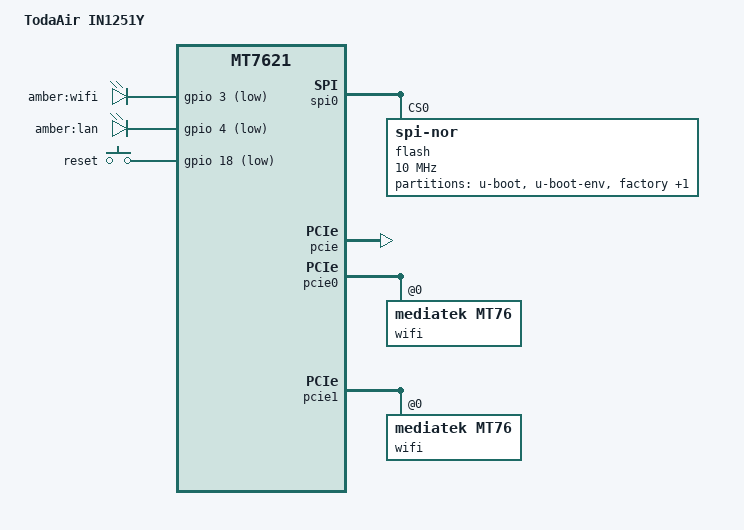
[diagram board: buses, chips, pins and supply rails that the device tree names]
// SPDX-License-Identifier: GPL-2.0-or-later OR MIT

#include "mt7621.dtsi"

#include <dt-bindings/gpio/gpio.h>
#include <dt-bindings/input/input.h>
#include <dt-bindings/leds/common.h>

/ {
	compatible = "todaair,in1251y", "mediatek,mt7621-soc";
	model = "TodaAir IN1251Y";

	aliases {
		label-mac-device = &gmac0;
		led-boot = &led_lan;
		led-failsafe = &led_lan;
		led-running = &led_wifi;
		led-upgrade = &led_lan;
	};

	chosen {
		bootargs = "console=ttyS0,115200n8";
	};

	leds {
		compatible = "gpio-leds";

		led_wifi: wifi {
			label = "amber:wifi";
			gpios = <&gpio 3 GPIO_ACTIVE_LOW>;
		};

		led_lan: lan {
			label = "amber:lan";
			gpios = <&gpio 4 GPIO_ACTIVE_LOW>;
		};
	};

	keys {
		compatible = "gpio-keys";

		reset {
			label = "reset";
			gpios = <&gpio 18 GPIO_ACTIVE_LOW>;
			linux,code = <KEY_RESTART>;
		};
	};
};

&spi0 {
	status = "okay";

	flash@0 {
		compatible = "jedec,spi-nor";
		reg = <0>;
		spi-max-frequency = <10000000>;

		partitions: partitions {
			compatible = "fixed-partitions";
			#address-cells = <1>;
			#size-cells = <1>;

			partition@0 {
				label = "u-boot";
				reg = <0x0 0x30000>;
				read-only;
			};

			partition@30000 {
				label = "u-boot-env";
				reg = <0x30000 0x10000>;
				read-only;
			};

			partition@40000 {
				label = "factory";
				reg = <0x40000 0x10000>;
				read-only;

				nvmem-layout {
					compatible = "fixed-layout";
					#address-cells = <1>;
					#size-cells = <1>;

					eeprom_factory_0: eeprom@0 {
						reg = <0x0 0x400>;
					};

					eeprom_factory_8000: eeprom@8000 {
						reg = <0x8000 0x4da8>;
					};

					macaddr_factory_0004: macaddr@0004 {
						reg = <0x0004 0x6>;
					};
				};
			};

			partition@50000 {
				compatible = "denx,uimage";
				label = "firmware";
				reg = <0x50000 0xfb0000>;
			};
		};
	};
};

&state_default {
	gpio {
		groups = "jtag", "uart2", "uart3", "wdt";
		function = "gpio";
	};
};

&pcie {
	status = "okay";
};

&pcie0 {
	wifi@0,0 {
		compatible = "mediatek,mt76";
		reg = <0x0000 0 0 0 0>;
		nvmem-cells = <&eeprom_factory_0>;
		nvmem-cell-names = "eeprom";
		ieee80211-freq-limit = <2400000 2500000>;
	};
};

&pcie1 {
	wifi@0,0 {
		compatible = "mediatek,mt76";
		reg = <0x0000 0 0 0 0>;
		nvmem-cells = <&eeprom_factory_8000>;
		nvmem-cell-names = "eeprom";
		ieee80211-freq-limit = <5000000 6000000>;
	};
};

&gmac0 {
	nvmem-cells = <&macaddr_factory_0004>;
	nvmem-cell-names = "mac-address";
};

&switch0 {
	ports {
		port@0 {
			status = "okay";
			label = "wan";
			nvmem-cells = <&macaddr_factory_0004>;
			nvmem-cell-names = "mac-address";
		};

		port@4 {
			status = "okay";
			label = "lan";
		};
	};
};
